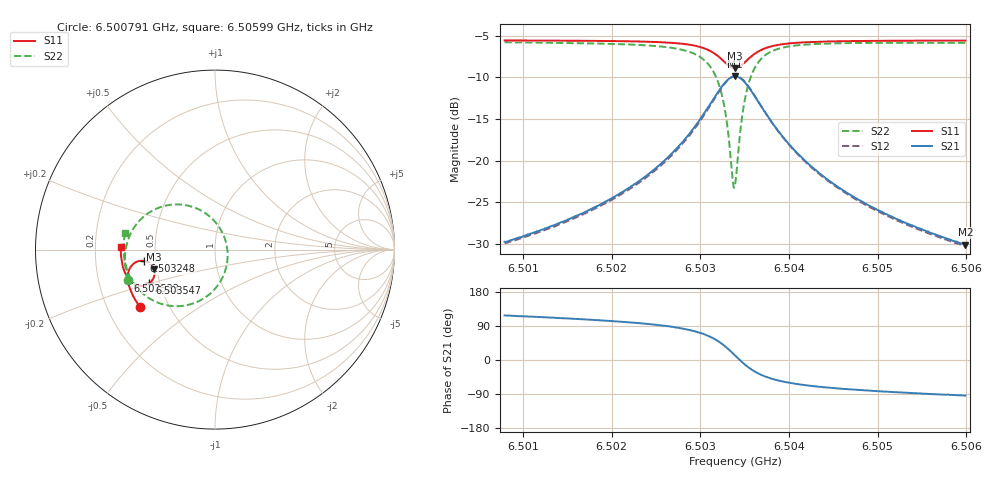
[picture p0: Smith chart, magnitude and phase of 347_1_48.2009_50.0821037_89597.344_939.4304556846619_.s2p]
#  HZ  S  RI  R  50.00
! Rohde & Schwarz Vector Network Analyzer
! Rohde-Schwarz,ZNB20-2Port,1311601062101988,3.16
! Created: UTC 3/20/2024, 11:51:38 AM
! freq[Hz]  re:S11  im:S11  re:S21  im:S21  re:S12  im:S12  re:S22  im:S22
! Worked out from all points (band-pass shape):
!   401 points, 6.500791 GHz to 6.50599 GHz, reference 50 ohm
!   highest |S21| = -9.88 dB at 6.503391 GHz (marker M1); lowest = -30.1 dB at 6.50599 GHz (marker M2)
!   |S21| within 3 dB of the highest: 6.50313 GHz to 6.50365 GHz (519.9 kHz wide, 0.00799 % of centre)
!   lowest |S11| = -8.9 dB at 6.503391 GHz (marker M3), VSWR 2.11, Z = 24.1 - j6.11 ohm
!   |S11| at or under -10 dB: nowhere
!   |S22| runs from -23.3 to -5.8 dB; largest |S21 - S12| = 0.011
!   S11 on the Smith chart (normalised r, x): 6.500791 GHz: 0.34, -0.30; 6.502533 GHz: 0.33, -0.15; 6.503248 GHz: 0.43, -0.06; 6.503547 GHz: 0.44, -0.20; 6.50599 GHz: 0.31, +0.01
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6.5007912e9  -0.419 -0.3189  -0.015 0.0289  -0.0134 0.0289  -0.4851 -0.1683
6.501662e9  -0.4574 -0.2559  -0.0145 0.0459  -0.0122 0.0456  -0.5007 -0.0783
6.5021559e9  -0.4754 -0.213  -0.0117 0.0657  -0.00873 0.0645  -0.4991 -0.0104
6.5025329e9  -0.4848 -0.1723  -0.0033 0.0935  0.000226 0.0913  -0.4815 0.0625
6.5028318e9  -0.4836 -0.129  0.0201 0.1342  0.0238 0.1302  -0.4326 0.1476
6.5030268e9  -0.4667 -0.0918  0.0659 0.1747  0.0688 0.1689  -0.344 0.2197
6.5031567e9  -0.4355 -0.0674  0.134 0.1973  0.1352 0.191  -0.2205 0.2517
6.5032477e9  -0.3978 -0.0624  0.2089 0.1877  0.2093 0.1822  -0.0905 0.2241
6.5032997e9  -0.3727 -0.0707  0.2565 0.1604  0.2573 0.1556  -0.0116 0.1681
6.5033647e9  -0.3467 -0.0964  0.3033 0.0982  0.3057 0.0931  0.0589 0.0487
6.5033907e9  -0.3404 -0.1105  0.3135 0.0669  0.3164 0.0609  0.0696 -0.00974
6.5034037e9  -0.3386 -0.1181  0.3161 0.0505  0.3191 0.0441  0.0704 -0.0396
6.5034557e9  -0.3394 -0.1484  0.3107 -0.0136  0.3134 -0.0224  0.0429 -0.1533
6.5034817e9  -0.3444 -0.1617  0.2997 -0.042  0.3015 -0.0518  0.0143 -0.201
6.5035467e9  -0.3651 -0.187  0.2581 -0.095  0.2568 -0.1059  -0.0794 -0.2818
6.5036506e9  -0.4036 -0.2016  0.1855 -0.1305  0.1803 -0.1396  -0.2253 -0.3152
6.5038196e9  -0.4488 -0.1918  0.1061 -0.1278  0.0991 -0.1328  -0.3687 -0.27
6.5040016e9  -0.4758 -0.1706  0.0626 -0.1085  0.0566 -0.1107  -0.439 -0.2066
6.5042615e9  -0.4962 -0.1404  0.0331 -0.0852  0.0286 -0.0856  -0.4814 -0.1357
6.5046644e9  -0.512 -0.0993  0.0142 -0.0621  0.011 -0.0617  -0.504 -0.0597
6.5051323e9  -0.5213 -0.0565  0.00482 -0.0466  0.00279 -0.0459  -0.5095 0.00419
6.5059902e9  -0.5257 0.0156  -0.00212 -0.0313  -0.00336 -0.0305  -0.5012 0.0929
